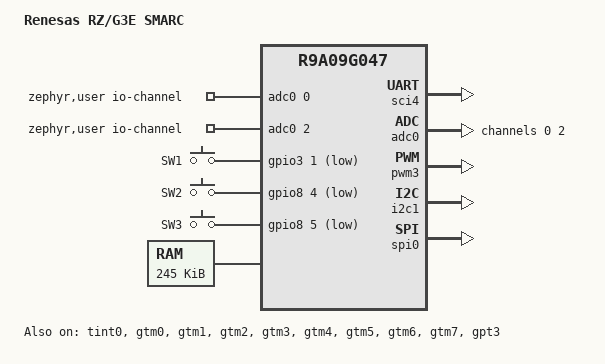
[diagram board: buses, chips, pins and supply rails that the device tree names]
/*
 * Copyright (c) 2025 Renesas Electronics Corporation
 * SPDX-License-Identifier: Apache-2.0
 */

/dts-v1/;

#include <freq.h>
#include <zephyr/dt-bindings/memory-attr/memory-attr-arm.h>
#include <zephyr/dt-bindings/input/input-event-codes.h>
#include <zephyr/dt-bindings/gpio/renesas-rz-gpio.h>
#include <arm/renesas/rz/rzg/r9a09g047.dtsi>
#include "rzg3e_smarc-pinctrl.dtsi"

/ {
	compatible = "renesas,rzg3e-smarc";
	model = "Renesas RZ/G3E SMARC";

	chosen {
		zephyr,sram = &sram;
		zephyr,console = &uart4;
		zephyr,shell-uart = &uart4;
	};

	aliases {
		sw0 = &sw1;
		sw1 = &sw2;
		sw2 = &sw3;
		i2c-0 = &i2c1;
		pwm-test = &pwm3;
		adc = &adc0;
		adc0 = &adc0;
	};

	zephyr,user {
		io-channels = <&adc0 0>, <&adc0 2>;
	};

	buttons {
		compatible = "gpio-keys";

		sw1: sw1 {
			gpios = <&gpio3 1 GPIO_ACTIVE_LOW>;
			label = "SW1";
			zephyr,code = <INPUT_KEY_1>;
		};

		sw2: sw2 {
			gpios = <&gpio8 4 GPIO_ACTIVE_LOW>;
			label = "SW2";
			zephyr,code = <INPUT_KEY_2>;
		};

		sw3: sw3 {
			gpios = <&gpio8 5 GPIO_ACTIVE_LOW>;
			label = "SW3";
			zephyr,code = <INPUT_KEY_3>;
		};
	};

	sram: memory@8003000 {
		compatible = "mmio-sram";
		reg = <0x08003000 DT_SIZE_K(245)>;
	};
};

&sci4 {
	pinctrl-0 = <&sci4_pins>;
	pinctrl-names = "default";
	status = "okay";

	uart4: uart {
		current-speed = <115200>;
		status = "okay";
	};
};

&tint0 {
	status = "okay";
};

&gpio3 {
	irqs = <&tint0 1>;
	status = "okay";
};

&gpio8 {
	status = "okay";
};

&adc0 {
	#address-cells = <1>;
	#size-cells = <0>;
	status = "okay";

	channel@0 {
		reg = <0>;
		zephyr,gain = "ADC_GAIN_1";
		zephyr,reference = "ADC_REF_INTERNAL";
		zephyr,resolution = <12>;
		zephyr,acquisition-time = <ADC_ACQ_TIME_DEFAULT>;
		zephyr,vref-mv = <1800>;
	};

	channel@2 {
		reg = <2>;
		zephyr,gain = "ADC_GAIN_1";
		zephyr,reference = "ADC_REF_INTERNAL";
		zephyr,resolution = <12>;
		zephyr,acquisition-time = <ADC_ACQ_TIME_DEFAULT>;
		zephyr,vref-mv = <1800>;
	};
};

&gtm0 {
	status = "okay";

	counter {
		status = "okay";
	};
};

&gtm1 {
	status = "okay";

	counter {
		status = "okay";
	};
};

&gtm2 {
	status = "okay";

	counter {
		status = "okay";
	};
};

&gtm3 {
	status = "okay";

	counter {
		status = "okay";
	};
};

&gtm4 {
	status = "okay";

	counter {
		status = "okay";
	};
};

&gtm5 {
	status = "okay";

	counter {
		status = "okay";
	};
};

&gtm6 {
	status = "okay";

	counter {
		status = "okay";
	};
};

&gtm7 {
	status = "okay";

	counter {
		status = "okay";
	};
};

&gpt3 {
	status = "okay";

	pwm3: pwm {
		pinctrl-0 = <&gpt3_pins>;
		pinctrl-names = "default";
		status = "okay";
	};
};

&i2c1 {
	pinctrl-0 = <&i2c1_pins>;
	pinctrl-names = "default";
	status = "okay";
};

&spi0 {
	pinctrl-0 = <&spi0_pins>;
	pinctrl-names = "default";
	status = "okay";
};
